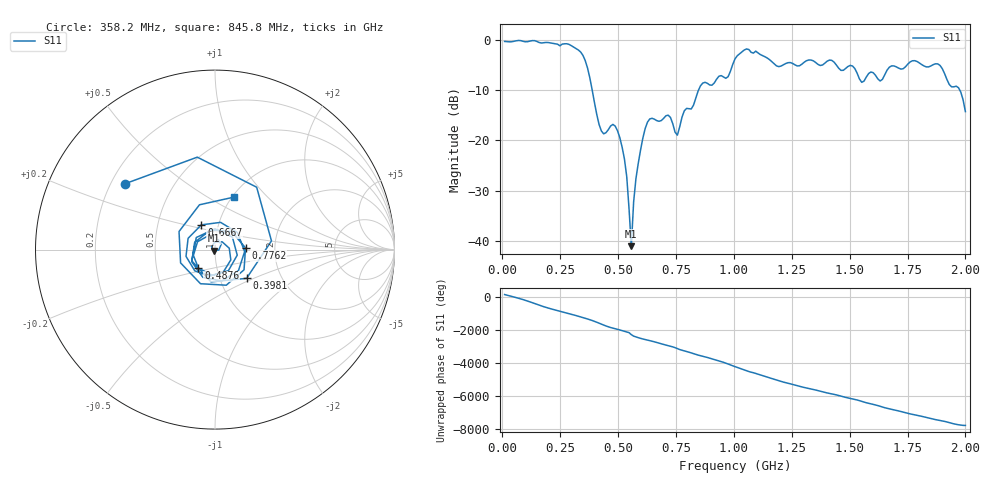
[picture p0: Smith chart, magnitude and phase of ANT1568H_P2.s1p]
!Created with skrf (http://scikit-rf.org).
# Hz S RI R 50.0
!freq ReS11 ImS11
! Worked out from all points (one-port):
!   201 points, 10 MHz to 2 GHz, reference 50 ohm
!   lowest |S11| = -41.1 dB at 557.2 MHz (marker M1), VSWR 1.02, Z = 49.4 - j0.661 ohm
!   |S11| at or under -10 dB: 388.3 MHz to 847.4 MHz (459 MHz wide, 74.3 % of centre); 1.976 GHz to end of sweep
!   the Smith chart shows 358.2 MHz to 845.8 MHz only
!   S11 on the Smith chart (normalised r, x): 358.2 MHz: 0.26, +0.31; 398.1 MHz: 1.34, -0.45; 487.6 MHz: 0.81, -0.17; 666.7 MHz: 0.83, +0.23; 776.1 MHz: 1.41, +0.03; 845.8 MHz: 1.02, +0.66
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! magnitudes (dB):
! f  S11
! 10 MHz  -0.3
! 258.8 MHz  -0.8
! 358.2 MHz  -4.1
! 398.1 MHz  -12.5
! 437.9 MHz  -18.7
! 487.6 MHz  -17.2
! 507.5 MHz  -19.4
! 537.4 MHz  -27.2
! 557.2 MHz  -41.1
! 567.2 MHz  -32.3
! 577.1 MHz  -27.6
! 607 MHz  -19.6
! 636.9 MHz  -15.7
! 666.7 MHz  -16.1
! 716.5 MHz  -15.0
! 756.2 MHz  -19.0
! 776.1 MHz  -15.4
! 845.8 MHz  -10.2
! 975.1 MHz  -7.3
! 1.005 GHz  -3.8
! 1.055 GHz  -1.8
! 1.254 GHz  -4.7
! 1.502 GHz  -5.1
! 1.552 GHz  -8.4
! 1.751 GHz  -4.8
! 1.891 GHz  -5.1
! 1.97 GHz  -9.5
! 2 GHz  -14.3
